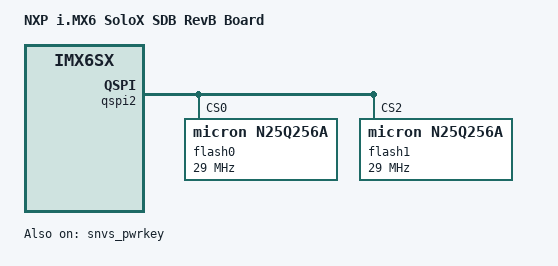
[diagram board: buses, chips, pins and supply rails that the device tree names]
// SPDX-License-Identifier: GPL-2.0
//
// Copyright (C) 2015 Freescale Semiconductor, Inc.

#include "imx6sx-sdb.dtsi"

/ {
	model = "NXP i.MX6 SoloX SDB RevB Board";

	regulators {
		/* Transceiver EN/STBY is active low on RevB board */
		reg_can_stby: regulator@10 {
			gpio = <&gpio4 27 GPIO_ACTIVE_LOW>;
		};
	};
};

&cpu0 {
	operating-points = <
		/* kHz    uV */
		996000  1250000
		792000  1175000
		396000  1175000
	>;
	fsl,soc-operating-points = <
		/* ARM kHz      SOC uV */
		996000  1250000
		792000  1175000
		396000  1175000
	>;

	fsl,arm-soc-shared = <1>;
};

&reg_arm {
	vin-supply = <&sw1a_reg>;
	regulator-allow-bypass;
};

&reg_soc {
	vin-supply = <&sw1a_reg>;
	regulator-allow-bypass;
};

&qspi2 {
	pinctrl-names = "default";
	pinctrl-0 = <&pinctrl_qspi2>;
	status = "okay";

#ifndef SPANSIONFLASH
	ddrsmp=<0>;

	flash0: n25q256a@0 {
		#address-cells = <1>;
		#size-cells = <1>;
		compatible = "micron,n25q256a", "jedec,spi-nor";
		spi-max-frequency = <29000000>;
		reg = <0>;
	};

	flash1: n25q256a@2 {
		#address-cells = <1>;
		#size-cells = <1>;
		compatible = "micron,n25q256a", "jedec,spi-nor";
		spi-max-frequency = <29000000>;
		reg = <2>;
	};
#endif
};

&usbphy1 {
	fsl,tx-d-cal = <106>;
};

&usbphy2 {
	fsl,tx-d-cal = <106>;
};

&reg_vdd1p1 {
	vin-supply = <&vgen6_reg>;
};

&reg_vdd2p5 {
	vin-supply = <&vgen6_reg>;
};

&reg_can_stby {
	/* Transceiver EN/STBY is active low on RevB board */
	gpio = <&gpio4 27 GPIO_ACTIVE_LOW>;
};

&snvs_pwrkey {
	status = "okay";
};
